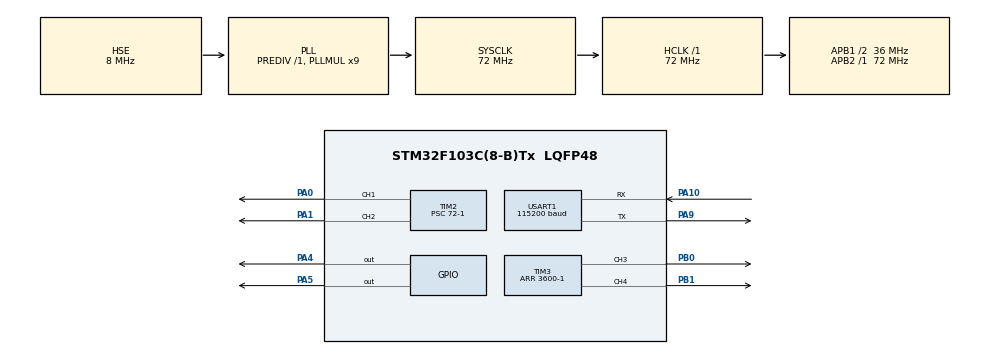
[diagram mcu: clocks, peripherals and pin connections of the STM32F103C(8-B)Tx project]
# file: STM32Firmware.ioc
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Mcu.Family=STM32F1
Mcu.Name=STM32F103C(8-B)Tx
Mcu.Package=LQFP48
NVIC.PriorityGroup=NVIC_PRIORITYGROUP_4
NVIC.TIM4_IRQn=true\:6\:0\:false\:false\:true\:true\:true\:true
NVIC.USART1_IRQn=true\:5\:0\:false\:false\:true\:true\:true\:true
PA0-WKUP.Signal=S_TIM2_CH1_ETR
PA1.Signal=S_TIM2_CH2
PA10.Mode=Asynchronous
PA10.Signal=USART1_RX
PA13.Mode=Serial_Wire
PA13.Signal=SYS_JTMS-SWDIO
PA14.Mode=Serial_Wire
PA14.Signal=SYS_JTCK-SWCLK
PA4.Signal=GPIO_Output
PA5.Signal=GPIO_Output
PA9.Mode=Asynchronous
PA9.Signal=USART1_TX
PB0.Signal=S_TIM3_CH3
PB1.Signal=S_TIM3_CH4
PD0-OSC_IN.Mode=HSE-External-Oscillator
PD0-OSC_IN.Signal=RCC_OSC_IN
PD1-OSC_OUT.Mode=HSE-External-Oscillator
PD1-OSC_OUT.Signal=RCC_OSC_OUT
ProjectManager.HeapSize=0x200
ProjectManager.StackSize=0x400
ProjectManager.TargetToolchain=CMake
RCC.AHBFreq_Value=72000000
RCC.APB1CLKDivider=RCC_HCLK_DIV2
RCC.APB1Freq_Value=36000000
RCC.APB1TimFreq_Value=72000000
RCC.APB2Freq_Value=72000000
RCC.APB2TimFreq_Value=72000000
RCC.HCLKFreq_Value=72000000
RCC.PLLMUL=RCC_PLL_MUL9
RCC.PLLSourceVirtual=RCC_PLLSOURCE_HSE
RCC.SYSCLKFreq_VALUE=72000000
RCC.SYSCLKSource=RCC_SYSCLKSOURCE_PLLCLK
RCC.USBFreq_Value=72000000
SH.S_TIM2_CH1_ETR.0=TIM2_CH1,PWM Generation1 CH1
SH.S_TIM2_CH2.0=TIM2_CH2,PWM Generation2 CH2
SH.S_TIM3_CH3.0=TIM3_CH3,PWM Generation3 CH3
SH.S_TIM3_CH4.0=TIM3_CH4,PWM Generation4 CH4
TIM2.Channel-PWM\ Generation1\ CH1=TIM_CHANNEL_1
TIM2.Channel-PWM\ Generation2\ CH2=TIM_CHANNEL_2
TIM2.Period=20000-1
TIM2.Prescaler=72-1
TIM3.Channel-PWM\ Generation3\ CH3=TIM_CHANNEL_3
TIM3.Channel-PWM\ Generation4\ CH4=TIM_CHANNEL_4
TIM3.Period=3600-1
TIM4.Period=2-1
TIM4.Prescaler=36000-1
USART1.BaudRate=115200
USART1.VirtualMode=VM_ASYNC
VP_TIM2_VS_ClockSourceINT.Mode=Internal
VP_TIM3_VS_ClockSourceINT.Mode=Internal
VP_TIM4_VS_ClockSourceINT.Mode=Internal
board=custom

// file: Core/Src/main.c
/* USER CODE BEGIN Header */
/**
  ******************************************************************************
  * @file           : main.c
  * @brief          : Main program body
  ******************************************************************************
  * @attention
  *
  * Copyright (c) 2026 STMicroelectronics.
  * All rights reserved.
  *
  * This software is licensed under terms that can be found in the LICENSE file
  * in the root directory of this software component.
  * If no LICENSE file comes with this software, it is provided AS-IS.
  *
  ******************************************************************************
  */
/* USER CODE END Header */
#include "main.h"

/* USER CODE BEGIN Includes */
#include "uart_link.h"
#include "servo.h"
#include "servo_fsm.h"
#include "system_fsm.h"
#include "uart_protocol.h"
#include "product_queue.h"
#include "stm32f1xx_hal.h"
#include "stm32f1xx_hal_tim.h"
#include "motor.h"
/* USER CODE END Includes */

/* USER CODE BEGIN PD */
#define MOTOR_RUNNING_DUTY_PERCENT 30U

/* USER CODE END PD */

/* USER CODE BEGIN PM */
#define servo_tim_handler htim2
#define motor_tim_handler htim3
/* USER CODE END PM */

TIM_HandleTypeDef htim2;
TIM_HandleTypeDef htim3;
TIM_HandleTypeDef htim4;

UART_HandleTypeDef huart1;

/* USER CODE BEGIN PV */
/* Main-loop use only. Advance only after a product is successfully queued. */
static uint32_t next_product_id = 1U;
/* Last protocol service result, observable in the debugger. HAL_BUSY is retryable. */
static volatile HAL_StatusTypeDef uart_protocol_status = HAL_OK;

static ServoFsm servo_fsms[2];
static const ServoFsmConfig servo_configs[2] = {
  { .rest_angle = 0, .deflect_angle = 45,
    .deflect_ms = 200U, .hold_ms = 2000U, .return_ms = 200U },
  { .rest_angle = 0, .deflect_angle = 45,
    .deflect_ms = 200U, .hold_ms = 2000U, .return_ms = 200U }
};
static volatile uint8_t servo_timer_due;

/* Debugger mailbox: write product ID first, then command.
 * Commands: 1 = servo 1, 2 = servo 2, 3 = Stop both,
 * 4 = Reset (operator must first clear the belt), 5 = Start without a servo test.
 * Results: 0 = none, 1 = accepted, 2 = rejected.
 * Entering RUNNING starts the conveyor motor on LPWM.
 */
volatile uint32_t servo_test_command;
volatile uint32_t servo_test_product_id;
volatile uint32_t servo_test_result;
volatile uint32_t servo_completed_count[2];
volatile uint32_t servo_last_completed_id[2];
/* Timing estimate only; no physical exit confirmation. */
volatile uint32_t ripe_estimated_exit_count;

/* USER CODE END PV */

void SystemClock_Config(void);
static void MX_GPIO_Init(void);
static void MX_TIM2_Init(void);
static void MX_USART1_UART_Init(void);
static void MX_TIM3_Init(void);
static void MX_TIM4_Init(void);
/* USER CODE BEGIN PFP */
static bool App_StartSystem(void);
static UartProtocol_Status_t App_HandleProductCommand(uint8_t command);
static void ServoTest_Init(void);
static void ServoTest_ApplyOutput(uint32_t index, const ServoFsmOutput *output);
static void ServoTest_ScheduleTimer(void);
static void ServoTest_ProcessCommand(void);
static void ServoTest_ProcessTimeouts(void);
static bool ServoTest_BothIdle(void);

/* USER CODE END PFP */

/* USER CODE BEGIN 0 */

static bool App_StartSystem(void)
{
  if (SystemFsm_GetState() == SYSTEM_RUNNING) return true;
  if (!SystemFsm_HandleEvent(SYSTEM_EVENT_START)) return false;

  Motor_Set_Duty(&htim3, LPWM, MOTOR_RUNNING_DUTY_PERCENT);
  return true;
}

//Callback
static UartProtocol_Status_t App_HandleProductCommand(uint8_t command)
{
  if (command == UART_PROTOCOL_CMD_START)
  {
    if (App_StartSystem())
    {
      return UART_PROTOCOL_STATUS_ACK;
    }
    return UART_PROTOCOL_STATUS_NOT_READY;
  }
  if (SystemFsm_GetState() != SYSTEM_RUNNING) return UART_PROTOCOL_STATUS_NOT_READY;
  const uint32_t now = HAL_GetTick();
  Product p;

  /* Temporary travel times for bench testing; measure before running the belt. */
  switch(command)
  {
    case UART_PROTOCOL_CMD_UNRIPE:
    {
      p.type = PRODUCT_UNRIPE;
      p.deadline_ms = now + (1000U - 200U);
      break;
    }
    case UART_PROTOCOL_CMD_RIPE:
    {
      p.type = PRODUCT_RIPE;
      p.deadline_ms = now + 5000U;
      break;
    }
    case UART_PROTOCOL_CMD_SPOILED:
    {
      p.type = PRODUCT_SPOILED;
      p.deadline_ms = now + (2000U - 200U);
      break;
    }
    default:
      return UART_PROTOCOL_STATUS_BAD_CMD;
  }
  p.product_id = next_product_id;

  if(ProductQueue_Push(p))
  {
    next_product_id++;
    ServoTest_ScheduleTimer();
    return UART_PROTOCOL_STATUS_ACK;
  }
  return UART_PROTOCOL_STATUS_FULL;
}

static bool ServoTest_BothIdle(void)
{
  return servo_fsms[0].state == SERVO_FSM_IDLE
      && servo_fsms[1].state == SERVO_FSM_IDLE;
}

static void ServoTest_ApplyOutput(uint32_t index, const ServoFsmOutput *output)
{
  if (output->angle_requested)
  {
    const uint32_t channel = index == 0U ? TIM_CHANNEL_1 : TIM_CHANNEL_2;
    Set_Servo_Angle(&htim2, channel, output->angle);
  }
  if (output->cycle_completed)
  {
    servo_last_completed_id[index] = output->product_id;
    servo_completed_count[index]++;
  }
}

static void ServoTest_Init(void)
{
  ServoFsmOutput outputs[2];
  const uint32_t now = HAL_GetTick();
  for (uint32_t index = 0U; index < 2U; index++)
  {
    if (!ServoFsm_Init(&servo_fsms[index], &servo_configs[index], now, &outputs[index]))
    {
      Error_Handler();
    }
  }
  for (uint32_t index = 0U; index < 2U; index++)
  {
    ServoTest_ApplyOutput(index, &outputs[index]);
  }
  if (HAL_TIM_PWM_Start(&htim2, TIM_CHANNEL_1) != HAL_OK
      || HAL_TIM_PWM_Start(&htim2, TIM_CHANNEL_2) != HAL_OK)
  {
    Error_Handler();
  }
  ServoTest_ScheduleTimer();
}

static void ServoTest_ScheduleTimer(void)
{
  HAL_TIM_Base_Stop_IT(&htim4);
  __HAL_TIM_CLEAR_FLAG(&htim4, TIM_FLAG_UPDATE);
  HAL_NVIC_ClearPendingIRQ(TIM4_IRQn);
  servo_timer_due = 0U;

  const uint32_t now = HAL_GetTick();
  uint32_t next_ms = UINT32_MAX;
  for (uint32_t index = 0U; index < 2U; index++)
  {
    if (servo_fsms[index].state == SERVO_FSM_UNINITIALIZED
        || servo_fsms[index].state == SERVO_FSM_IDLE)
    {
      continue;
    }

    const uint32_t remaining_ms = servo_fsms[index].deadline_ms - now; //Overflow when deadline passed
    if (remaining_ms == 0U || remaining_ms > INT32_MAX)
    {
      servo_timer_due = 1U;
      return;
    }

    if (remaining_ms < next_ms)
    {
      next_ms = remaining_ms; //Set remaining_ms as next for the timer to continue counting the remaining miliseconds
    }
  }

  if (SystemFsm_GetState() == SYSTEM_RUNNING)
  {
    Product p;
    if (ProductQueue_PeekEarliest(&p))
    {
      const uint32_t remaining_ms = p.deadline_ms - now;
      if (remaining_ms == 0 || remaining_ms > INT32_MAX)
      {
        servo_timer_due = 1U;
        return;
      }
      if (remaining_ms < next_ms) next_ms = remaining_ms;
    }
  }

  if (next_ms == UINT32_MAX)
  {
    return;
  }
  /* TIM4 is 16-bit, running at 2 kHz. Long deadlines use bounded chunks. */
  if (next_ms > 32767U)
  {
    next_ms = 32767U;
  }
  __HAL_TIM_SET_AUTORELOAD(&htim4, next_ms * 2U - 1U);
  __HAL_TIM_SET_COUNTER(&htim4, 0U);
  if (HAL_TIM_Base_Start_IT(&htim4) != HAL_OK)
  {
    Error_Handler();
  }
}

static void ServoTest_ProcessCommand(void)
{
  const uint32_t command = servo_test_command;
  const uint32_t product_id = servo_test_product_id;
  servo_test_command = 0U;
  if (command == 0U)
  {
    return;
  }

  ServoFsmOutput output;
  const uint32_t now = HAL_GetTick();
  bool accepted = false;
  if (command == 3U)
  {
    /* Stop is processed before timeout completion in the main loop. */
    Motor_Stop(&htim3);
    accepted = SystemFsm_HandleEvent(SYSTEM_EVENT_STOP);
    for (uint32_t index = 0U; index < 2U; index++)
    {
      ServoFsm_Stop(&servo_fsms[index], now, &output);
      ServoTest_ApplyOutput(index, &output);
    }
  }
  else if (command == 4U)
  {
    if (ServoTest_BothIdle()
        && (SystemFsm_GetState() == SYSTEM_STOPPED
            || SystemFsm_GetState() == SYSTEM_FAULT))
    {
      /* Explicit operator reset confirms the belt has been physically cleared. */
      Product discarded;
      while (ProductQueue_Pop(&discarded))
      {
      }
      accepted = SystemFsm_HandleEvent(SYSTEM_EVENT_RESET_ALLOWED);
    }
  }
  else if (command == 5U)
  {
    accepted = App_StartSystem();
  }
  else if (command == 1U || command == 2U)
  {
    if (SystemFsm_GetState() == SYSTEM_READY)
    {
      App_StartSystem();
    }
    if (SystemFsm_GetState() == SYSTEM_RUNNING)
    {
      const uint32_t index = command - 1U;
      accepted = ServoFsm_Start(&servo_fsms[index], product_id, now, &output);
      ServoTest_ApplyOutput(index, &output);
    }
  }
  servo_test_result = accepted ? 1U : 2U;
  ServoTest_ScheduleTimer();
}

static void ServoTest_ProcessTimeouts(void)
{
  if (servo_timer_due == 0U)
  {
    return;
  }
  servo_timer_due = 0U;
  const uint32_t now = HAL_GetTick();
  ServoFsmOutput output;
  for (uint32_t index = 0U; index < 2U; index++)
  {
    if (ServoFsm_HandleTimeout(&servo_fsms[index], now, &output))
    {
      ServoTest_ApplyOutput(index, &output);
    }
  }

  while (SystemFsm_GetState() == SYSTEM_RUNNING)
  {
    Product p;
    if (!ProductQueue_PeekEarliest(&p))
    {
      break;
    }
    const uint32_t product_now = HAL_GetTick();
    const uint32_t remaining_ms = p.deadline_ms - product_now;
    if (remaining_ms != 0U && remaining_ms <= INT32_MAX)
    {
      break;
    }
    if (p.type == PRODUCT_RIPE)
    {
      ProductQueue_PopEarliest(&p);
      ripe_estimated_exit_count++;
      continue;
    }
    /* Bench mapping: servo 1 = unripe, servo 2 = spoiled. */
    const uint32_t index = p.type == PRODUCT_UNRIPE ? 0U : 1U;
    if ((p.type == PRODUCT_UNRIPE || p.type == PRODUCT_SPOILED)
        && ServoFsm_Start(&servo_fsms[index], p.product_id, product_now, &output))
    {
      ServoTest_ApplyOutput(index, &output);
      ProductQueue_PopEarliest(&p);
      continue;
    }

    /* A busy servo cannot safely sort this product late. Keep its record. */
    Motor_Stop(&htim3);
    SystemFsm_HandleEvent(SYSTEM_EVENT_ERROR);
    for (uint32_t servo = 0U; servo < 2U; servo++)
    {
      ServoFsm_Stop(&servo_fsms[servo], product_now, &output);
      ServoTest_ApplyOutput(servo, &output);
    }
  }

  if (SystemFsm_GetState() == SYSTEM_INIT && ServoTest_BothIdle())
  {
    SystemFsm_HandleEvent(SYSTEM_EVENT_INIT_DONE);
  }
  ServoTest_ScheduleTimer();
}

/* USER CODE END 0 */

int main(void)
{

  /* MCU Configuration--------------------------------------------------------*/

  /* Reset of all peripherals, Initializes the Flash interface and the Systick. */
   HAL_Init();

  /* Configure the system clock */
  SystemClock_Config();

  /* Initialize all configured peripherals */
  MX_GPIO_Init();
  MX_TIM2_Init();
  MX_USART1_UART_Init();
  MX_TIM3_Init();
  MX_TIM4_Init();
  /* USER CODE BEGIN 2 */
  Motor_Stop(&htim3);
  if (HAL_TIM_PWM_Start(&htim3, RPWM) != HAL_OK
      || HAL_TIM_PWM_Start(&htim3, LPWM) != HAL_OK)
  {
    Error_Handler();
  }
  ServoTest_Init();

  if (UartLink_Init(&huart1) != HAL_OK)
  {
    Error_Handler();
  }
  UartProtocol_Init(App_HandleProductCommand);
  /* USER CODE END 2 */

  /* Infinite loop */
  /* USER CODE BEGIN WHILE */
  while (1)
  {
    ServoTest_ProcessCommand();
    uart_protocol_status = UartProtocol_Process();
    ServoTest_ProcessTimeouts();

    /* A pending IRQ wakes WFI even while PRIMASK is set. Masking the final
     * check and sleep prevents losing a deadline between them.
     * SysTick stays enabled for HAL time and debugger mailbox wakeups.
     */
    __disable_irq();
    if (servo_timer_due == 0U && servo_test_command == 0U
        && !UartLink_HasServices())
    {
      __DSB();
      __WFI();
    }
    __enable_irq();
    /* USER CODE END WHILE */
  }
}

void SystemClock_Config(void)
{
  RCC_OscInitTypeDef RCC_OscInitStruct = {0};
  RCC_ClkInitTypeDef RCC_ClkInitStruct = {0};

  /** Initializes the RCC Oscillators according to the specified parameters
  * in the RCC_OscInitTypeDef structure.
  */
  RCC_OscInitStruct.OscillatorType = RCC_OSCILLATORTYPE_HSE;
  RCC_OscInitStruct.HSEState = RCC_HSE_ON;
  RCC_OscInitStruct.HSEPredivValue = RCC_HSE_PREDIV_DIV1;
  RCC_OscInitStruct.HSIState = RCC_HSI_ON;
  RCC_OscInitStruct.PLL.PLLState = RCC_PLL_ON;
  RCC_OscInitStruct.PLL.PLLSource = RCC_PLLSOURCE_HSE;
  RCC_OscInitStruct.PLL.PLLMUL = RCC_PLL_MUL9;
  if (HAL_RCC_OscConfig(&RCC_OscInitStruct) != HAL_OK)
  {
    Error_Handler();
  }

  /** Initializes the CPU, AHB and APB buses clocks
  */
  RCC_ClkInitStruct.ClockType = RCC_CLOCKTYPE_HCLK|RCC_CLOCKTYPE_SYSCLK
                              |RCC_CLOCKTYPE_PCLK1|RCC_CLOCKTYPE_PCLK2;
  RCC_ClkInitStruct.SYSCLKSource = RCC_SYSCLKSOURCE_PLLCLK;
  RCC_ClkInitStruct.AHBCLKDivider = RCC_SYSCLK_DIV1;
  RCC_ClkInitStruct.APB1CLKDivider = RCC_HCLK_DIV2;
  RCC_ClkInitStruct.APB2CLKDivider = RCC_HCLK_DIV1;

  if (HAL_RCC_ClockConfig(&RCC_ClkInitStruct, FLASH_LATENCY_2) != HAL_OK)
  {
    Error_Handler();
  }
}

static void MX_TIM2_Init(void)
{

  TIM_ClockConfigTypeDef sClockSourceConfig = {0};
  TIM_MasterConfigTypeDef sMasterConfig = {0};
  TIM_OC_InitTypeDef sConfigOC = {0};

  htim2.Instance = TIM2;
  htim2.Init.Prescaler = 72-1;
  htim2.Init.CounterMode = TIM_COUNTERMODE_UP;
  htim2.Init.Period = 20000-1;
  htim2.Init.ClockDivision = TIM_CLOCKDIVISION_DIV1;
  htim2.Init.AutoReloadPreload = TIM_AUTORELOAD_PRELOAD_DISABLE;
  if (HAL_TIM_Base_Init(&htim2) != HAL_OK)
  {
    Error_Handler();
  }
  sClockSourceConfig.ClockSource = TIM_CLOCKSOURCE_INTERNAL;
  if (HAL_TIM_ConfigClockSource(&htim2, &sClockSourceConfig) != HAL_OK)
  {
    Error_Handler();
  }
  if (HAL_TIM_PWM_Init(&htim2) != HAL_OK)
  {
    Error_Handler();
  }
  sMasterConfig.MasterOutputTrigger = TIM_TRGO_RESET;
  sMasterConfig.MasterSlaveMode = TIM_MASTERSLAVEMODE_DISABLE;
  if (HAL_TIMEx_MasterConfigSynchronization(&htim2, &sMasterConfig) != HAL_OK)
  {
    Error_Handler();
  }
  sConfigOC.OCMode = TIM_OCMODE_PWM1;
  sConfigOC.Pulse = 0;
  sConfigOC.OCPolarity = TIM_OCPOLARITY_HIGH;
  sConfigOC.OCFastMode = TIM_OCFAST_DISABLE;
  if (HAL_TIM_PWM_ConfigChannel(&htim2, &sConfigOC, TIM_CHANNEL_1) != HAL_OK)
  {
    Error_Handler();
  }
  if (HAL_TIM_PWM_ConfigChannel(&htim2, &sConfigOC, TIM_CHANNEL_2) != HAL_OK)
  {
    Error_Handler();
  }
  HAL_TIM_MspPostInit(&htim2);

}

static void MX_TIM3_Init(void)
{

  TIM_ClockConfigTypeDef sClockSourceConfig = {0};
  TIM_MasterConfigTypeDef sMasterConfig = {0};
  TIM_OC_InitTypeDef sConfigOC = {0};

  htim3.Instance = TIM3;
  htim3.Init.Prescaler = 0;
  htim3.Init.CounterMode = TIM_COUNTERMODE_UP;
  htim3.Init.Period = 3600-1;
  htim3.Init.ClockDivision = TIM_CLOCKDIVISION_DIV1;
  htim3.Init.AutoReloadPreload = TIM_AUTORELOAD_PRELOAD_DISABLE;
  if (HAL_TIM_Base_Init(&htim3) != HAL_OK)
  {
    Error_Handler();
  }
  sClockSourceConfig.ClockSource = TIM_CLOCKSOURCE_INTERNAL;
  if (HAL_TIM_ConfigClockSource(&htim3, &sClockSourceConfig) != HAL_OK)
  {
    Error_Handler();
  }
  if (HAL_TIM_PWM_Init(&htim3) != HAL_OK)
  {
    Error_Handler();
  }
  sMasterConfig.MasterOutputTrigger = TIM_TRGO_RESET;
  sMasterConfig.MasterSlaveMode = TIM_MASTERSLAVEMODE_DISABLE;
  if (HAL_TIMEx_MasterConfigSynchronization(&htim3, &sMasterConfig) != HAL_OK)
  {
    Error_Handler();
  }
  sConfigOC.OCMode = TIM_OCMODE_PWM1;
  sConfigOC.Pulse = 0;
  sConfigOC.OCPolarity = TIM_OCPOLARITY_HIGH;
  sConfigOC.OCFastMode = TIM_OCFAST_DISABLE;
  if (HAL_TIM_PWM_ConfigChannel(&htim3, &sConfigOC, TIM_CHANNEL_3) != HAL_OK)
  {
    Error_Handler();
  }
  if (HAL_TIM_PWM_ConfigChannel(&htim3, &sConfigOC, TIM_CHANNEL_4) != HAL_OK)
  {
    Error_Handler();
  }
  HAL_TIM_MspPostInit(&htim3);

}

static void MX_USART1_UART_Init(void)
{

  huart1.Instance = USART1;
  huart1.Init.BaudRate = 115200;
  huart1.Init.WordLength = UART_WORDLENGTH_8B;
  huart1.Init.StopBits = UART_STOPBITS_1;
  huart1.Init.Parity = UART_PARITY_NONE;
  huart1.Init.Mode = UART_MODE_TX_RX;
  huart1.Init.HwFlowCtl = UART_HWCONTROL_NONE;
  huart1.Init.OverSampling = UART_OVERSAMPLING_16;
  if (HAL_UART_Init(&huart1) != HAL_OK)
  {
    Error_Handler();
  }

}

static void MX_TIM4_Init(void)
{

  TIM_ClockConfigTypeDef sClockSourceConfig = {0};
  TIM_MasterConfigTypeDef sMasterConfig = {0};

  htim4.Instance = TIM4;
  htim4.Init.Prescaler = 36000-1;
  htim4.Init.CounterMode = TIM_COUNTERMODE_UP;
  htim4.Init.Period = 2-1;
  htim4.Init.ClockDivision = TIM_CLOCKDIVISION_DIV1;
  htim4.Init.AutoReloadPreload = TIM_AUTORELOAD_PRELOAD_DISABLE;
  if (HAL_TIM_Base_Init(&htim4) != HAL_OK)
  {
    Error_Handler();
  }
  sClockSourceConfig.ClockSource = TIM_CLOCKSOURCE_INTERNAL;
  if (HAL_TIM_ConfigClockSource(&htim4, &sClockSourceConfig) != HAL_OK)
  {
    Error_Handler();
  }
  sMasterConfig.MasterOutputTrigger = TIM_TRGO_RESET;
  sMasterConfig.MasterSlaveMode = TIM_MASTERSLAVEMODE_DISABLE;
  if (HAL_TIMEx_MasterConfigSynchronization(&htim4, &sMasterConfig) != HAL_OK)
  {
    Error_Handler();
  }
}

static void MX_GPIO_Init(void)
{
  GPIO_InitTypeDef GPIO_InitStruct = {0};

  /* GPIO Ports Clock Enable */
  __HAL_RCC_GPIOD_CLK_ENABLE();
  __HAL_RCC_GPIOA_CLK_ENABLE();
  __HAL_RCC_GPIOB_CLK_ENABLE();

  /*Configure GPIO pin Output Level */
  HAL_GPIO_WritePin(GPIOA, GPIO_PIN_4|GPIO_PIN_5, GPIO_PIN_RESET);

  /*Configure GPIO pins : PA4 PA5 */
  GPIO_InitStruct.Pin = GPIO_PIN_4|GPIO_PIN_5;
  GPIO_InitStruct.Mode = GPIO_MODE_OUTPUT_PP;
  GPIO_InitStruct.Pull = GPIO_NOPULL;
  GPIO_InitStruct.Speed = GPIO_SPEED_FREQ_LOW;
  HAL_GPIO_Init(GPIOA, &GPIO_InitStruct);

}

/* USER CODE BEGIN 4 */
void HAL_TIM_PeriodElapsedCallback(TIM_HandleTypeDef *htim)
{
  if (htim->Instance == TIM4)
  {
    /* Stop after one update; the main loop schedules the next deadline. */
    HAL_TIM_Base_Stop_IT(htim);
    servo_timer_due = 1U;
  }
}

/* USER CODE END 4 */

void Error_Handler(void)
{
  /* USER CODE BEGIN Error_Handler_Debug */
  if (htim3.Instance == TIM3)
  {
    Motor_Stop(&htim3);
  }
  SystemFsm_HandleEvent(SYSTEM_EVENT_ERROR);
  /* User can add his own implementation to report the HAL error return state */
  __disable_irq();
  while (1)
  {
  }
  /* USER CODE END Error_Handler_Debug */
}
